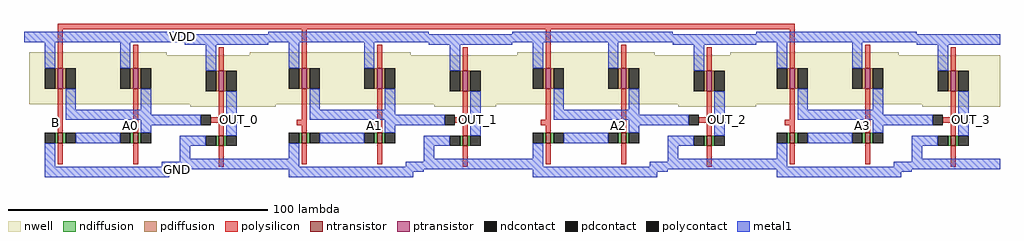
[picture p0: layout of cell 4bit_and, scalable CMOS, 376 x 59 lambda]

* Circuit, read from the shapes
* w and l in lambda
.subckt 4bit_and A0 A1 A2 A3 B GND OUT_0 OUT_1 OUT_2 OUT_3 VDD
M1 n1 B GND VSUBS nfet w=4 l=2
M2 inverter_0/input A0 n1 VSUBS nfet w=4 l=2
M3 OUT_0 inverter_0/input GND VSUBS nfet w=4 l=2
M4 n2 B GND VSUBS nfet w=4 l=2
M5 n3 A1 n2 VSUBS nfet w=4 l=2
M6 OUT_1 n3 GND VSUBS nfet w=4 l=2
M7 n4 B GND VSUBS nfet w=4 l=2
M8 n5 A2 n4 VSUBS nfet w=4 l=2
M9 OUT_2 n5 GND VSUBS nfet w=4 l=2
M10 n6 B GND VSUBS nfet w=4 l=2
M11 n7 A3 n6 VSUBS nfet w=4 l=2
M12 OUT_3 n7 GND VSUBS nfet w=4 l=2
M13 inverter_0/input B VDD n8 pfet w=8 l=2
M14 inverter_0/input A0 VDD n8 pfet w=8 l=2
M15 OUT_0 inverter_0/input VDD n8 pfet w=8 l=2
M16 n3 B VDD n8 pfet w=8 l=2
M17 n3 A1 VDD n8 pfet w=8 l=2
M18 OUT_1 n3 VDD n8 pfet w=8 l=2
M19 n5 B VDD n8 pfet w=8 l=2
M20 n5 A2 VDD n8 pfet w=8 l=2
M21 OUT_2 n5 VDD n8 pfet w=8 l=2
M22 n7 B VDD n8 pfet w=8 l=2
M23 n7 A3 VDD n8 pfet w=8 l=2
M24 OUT_3 n7 VDD n8 pfet w=8 l=2
.ends

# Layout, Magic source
magic
tech scmos
<< nwell >>
rect 87 47 149 48
rect 190 47 243 48
rect 272 47 337 48
rect 54 28 65 47
rect 87 28 376 47
rect 87 27 97 28
rect 158 27 182 28
rect 252 27 282 28
rect 346 27 376 28
<< polysilicon >>
rect 13 57 297 59
rect 13 49 15 57
rect 107 42 109 57
rect 136 42 138 51
rect 169 41 171 50
rect 201 42 203 57
rect 230 42 232 51
rect 11 20 15 22
rect 40 19 44 21
rect 72 21 77 23
rect 107 22 109 34
rect 105 20 109 22
rect 136 21 138 34
rect 263 41 265 50
rect 295 42 297 57
rect 324 42 326 51
rect 107 17 109 20
rect 134 19 138 21
rect 169 23 171 33
rect 166 21 171 23
rect 201 22 203 34
rect 136 17 138 19
rect 169 16 171 21
rect 199 20 203 22
rect 230 21 232 34
rect 357 41 359 50
rect 201 17 203 20
rect 228 19 232 21
rect 263 23 265 33
rect 260 21 265 23
rect 295 22 297 34
rect 230 17 232 19
rect 107 5 109 13
rect 136 5 138 13
rect 263 16 265 21
rect 293 20 297 22
rect 324 21 326 34
rect 295 17 297 20
rect 322 19 326 21
rect 357 23 359 33
rect 354 21 359 23
rect 324 17 326 19
rect 169 4 171 12
rect 201 5 203 13
rect 230 5 232 13
rect 357 16 359 21
rect 263 4 265 12
rect 295 5 297 13
rect 324 5 326 13
rect 357 4 359 12
<< ndiffusion >>
rect 106 13 107 17
rect 109 13 110 17
rect 135 13 136 17
rect 138 13 139 17
rect 168 12 169 16
rect 171 12 172 16
rect 200 13 201 17
rect 203 13 204 17
rect 229 13 230 17
rect 232 13 233 17
rect 262 12 263 16
rect 265 12 266 16
rect 294 13 295 17
rect 297 13 298 17
rect 323 13 324 17
rect 326 13 327 17
rect 356 12 357 16
rect 359 12 360 16
<< pdiffusion >>
rect 106 34 107 42
rect 109 34 110 42
rect 135 34 136 42
rect 138 34 139 42
rect 168 33 169 41
rect 171 33 172 41
rect 200 34 201 42
rect 203 34 204 42
rect 229 34 230 42
rect 232 34 233 42
rect 262 33 263 41
rect 265 33 266 41
rect 294 34 295 42
rect 297 34 298 42
rect 323 34 324 42
rect 326 34 327 42
rect 356 33 357 41
rect 359 33 360 41
<< metal1 >>
rect 55 52 62 56
rect 94 55 156 56
rect 188 55 250 56
rect 282 55 344 56
rect 94 52 376 55
rect 102 42 106 52
rect 131 42 135 52
rect 156 51 188 52
rect 110 26 114 34
rect 139 26 143 34
rect 164 41 168 51
rect 196 42 200 52
rect 225 42 229 52
rect 250 51 282 52
rect 110 24 143 26
rect 48 20 68 24
rect 81 21 84 24
rect 110 22 162 24
rect 139 20 162 22
rect 139 17 143 20
rect 114 13 131 17
rect 172 16 176 33
rect 204 26 208 34
rect 233 26 237 34
rect 258 41 262 51
rect 290 42 294 52
rect 319 42 323 52
rect 344 51 376 52
rect 204 24 237 26
rect 266 24 270 33
rect 298 26 302 34
rect 327 26 331 34
rect 352 41 356 51
rect 298 24 331 26
rect 360 24 364 33
rect 204 22 256 24
rect 233 20 256 22
rect 266 21 272 24
rect 298 22 350 24
rect 233 17 237 20
rect 102 7 106 13
rect 53 4 60 6
rect 92 4 106 7
rect 154 12 164 16
rect 208 13 225 17
rect 266 16 270 21
rect 327 20 350 22
rect 360 21 366 24
rect 327 17 331 20
rect 154 7 158 12
rect 196 7 200 13
rect 154 6 200 7
rect 248 12 258 16
rect 302 13 319 17
rect 360 16 364 21
rect 248 7 252 12
rect 290 7 294 13
rect 248 6 294 7
rect 342 12 352 16
rect 342 7 346 12
rect 342 6 376 7
rect 147 4 200 6
rect 241 4 294 6
rect 335 4 376 6
rect 53 3 63 4
rect 92 3 376 4
rect 53 2 60 3
rect 102 2 154 3
rect 196 2 248 3
rect 290 2 342 3
rect 102 0 150 2
rect 196 0 244 2
rect 290 0 338 2
<< ntransistor >>
rect 107 13 109 17
rect 136 13 138 17
rect 169 12 171 16
rect 201 13 203 17
rect 230 13 232 17
rect 263 12 265 16
rect 295 13 297 17
rect 324 13 326 17
rect 357 12 359 16
<< ptransistor >>
rect 107 34 109 42
rect 136 34 138 42
rect 169 33 171 41
rect 201 34 203 42
rect 230 34 232 42
rect 263 33 265 41
rect 295 34 297 42
rect 324 34 326 42
rect 357 33 359 41
<< polycontact >>
rect 68 20 72 24
rect 162 20 166 24
rect 256 20 260 24
rect 350 20 354 24
<< ndcontact >>
rect 102 13 106 17
rect 110 13 114 17
rect 131 13 135 17
rect 139 13 143 17
rect 164 12 168 16
rect 172 12 176 16
rect 196 13 200 17
rect 204 13 208 17
rect 225 13 229 17
rect 233 13 237 17
rect 258 12 262 16
rect 266 12 270 16
rect 290 13 294 17
rect 298 13 302 17
rect 319 13 323 17
rect 327 13 331 17
rect 352 12 356 16
rect 360 12 364 16
<< pdcontact >>
rect 102 34 106 42
rect 110 34 114 42
rect 131 34 135 42
rect 139 34 143 42
rect 164 33 168 41
rect 172 33 176 41
rect 196 34 200 42
rect 204 34 208 42
rect 225 34 229 42
rect 233 34 237 42
rect 258 33 262 41
rect 266 33 270 41
rect 290 34 294 42
rect 298 34 302 42
rect 319 34 323 42
rect 327 34 331 42
rect 352 33 356 41
rect 360 33 364 41
use inverter  inverter_0
transform 1 0 74 0 1 39
box -14 -36 20 16
use nand  nand_0
transform 1 0 12 0 1 40
box -12 -40 44 16
<< labels >>
rlabel metal1 61 54 61 54 5 VDD
rlabel metal1 59 3 59 3 1 GND
rlabel polysilicon 41 20 41 20 1 A0
rlabel polysilicon 12 21 12 21 1 B
rlabel polysilicon 135 20 135 20 1 A1
rlabel metal1 83 22 83 22 1 OUT_0
rlabel metal1 175 22 175 22 1 OUT_1
rlabel polysilicon 229 20 229 20 1 A2
rlabel metal1 271 22 271 22 1 OUT_2
rlabel polysilicon 323 20 323 20 1 A3
rlabel metal1 365 22 365 22 1 OUT_3
<< end >>

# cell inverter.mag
magic
tech scmos
<< nwell >>
rect -10 -12 14 8
<< polysilicon >>
rect 1 2 3 11
rect 1 -23 3 -6
rect 1 -35 3 -27
<< ndiffusion >>
rect 0 -27 1 -23
rect 3 -27 4 -23
<< pdiffusion >>
rect 0 -6 1 2
rect 3 -6 4 2
<< metal1 >>
rect -12 12 20 16
rect -4 2 0 12
rect 4 -23 8 -6
rect -14 -27 -4 -23
rect -14 -32 -10 -27
rect -14 -36 19 -32
<< ntransistor >>
rect 1 -27 3 -23
<< ptransistor >>
rect 1 -6 3 2
<< ndcontact >>
rect -4 -27 0 -23
rect 4 -27 8 -23
<< pdcontact >>
rect -4 -6 0 2
rect 4 -6 8 2
<< labels >>
rlabel metal1 2 13 2 13 5 vdd
rlabel metal1 -4 -35 -4 -35 1 gnd
rlabel polysilicon 2 -14 2 -14 1 input
rlabel metal1 7 -15 7 -15 1 out
<< end >>

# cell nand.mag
magic
tech scmos
<< nwell >>
rect -10 -12 43 8
<< polysilicon >>
rect 1 2 3 11
rect 30 2 32 11
rect 1 -23 3 -6
rect 30 -23 32 -6
rect 1 -35 3 -27
rect 30 -35 32 -27
<< ndiffusion >>
rect 0 -27 1 -23
rect 3 -27 4 -23
rect 29 -27 30 -23
rect 32 -27 33 -23
<< pdiffusion >>
rect 0 -6 1 2
rect 3 -6 4 2
rect 29 -6 30 2
rect 32 -6 33 2
<< metal1 >>
rect -12 12 44 16
rect -4 2 0 12
rect 25 2 29 12
rect 4 -14 8 -6
rect 33 -14 37 -6
rect 4 -18 37 -14
rect 33 -23 37 -18
rect 8 -27 25 -23
rect -4 -36 0 -27
rect -4 -40 44 -36
<< ntransistor >>
rect 1 -27 3 -23
rect 30 -27 32 -23
<< ptransistor >>
rect 1 -6 3 2
rect 30 -6 32 2
<< ndcontact >>
rect -4 -27 0 -23
rect 4 -27 8 -23
rect 25 -27 29 -23
rect 33 -27 37 -23
<< pdcontact >>
rect -4 -6 0 2
rect 4 -6 8 2
rect 25 -6 29 2
rect 33 -6 37 2
<< labels >>
rlabel metal1 2 13 2 13 5 vdd
rlabel metal1 36 -15 36 -15 1 out
rlabel polysilicon 31 -13 31 -13 1 input2
rlabel metal1 13 -38 13 -38 1 gnd
rlabel polysilicon 2 -13 2 -13 1 input1
<< end >>
